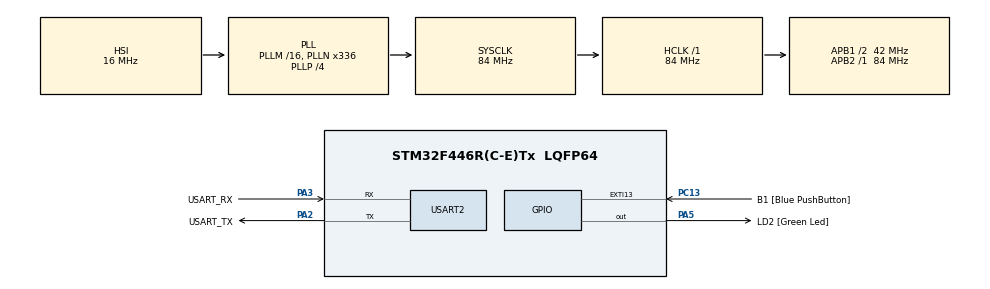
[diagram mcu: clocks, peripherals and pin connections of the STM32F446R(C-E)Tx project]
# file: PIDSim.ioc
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Mcu.Family=STM32F4
Mcu.Name=STM32F446R(C-E)Tx
Mcu.Package=LQFP64
NVIC.PriorityGroup=NVIC_PRIORITYGROUP_4
NVIC.TIM1_UP_TIM10_IRQn=true\:0\:0\:false\:false\:true\:true\:true\:true
NVIC.TIM6_DAC_IRQn=true\:1\:0\:true\:false\:true\:true\:true\:true
NVIC.TIM7_IRQn=true\:2\:0\:true\:false\:true\:true\:true\:true
PA13.GPIO_Label=TMS
PA13.Mode=Serial_Wire
PA13.Signal=SYS_JTMS-SWDIO
PA14.GPIO_Label=TCK
PA14.Mode=Serial_Wire
PA14.Signal=SYS_JTCK-SWCLK
PA2.GPIO_Label=USART_TX
PA2.Mode=Asynchronous
PA2.Signal=USART2_TX
PA3.GPIO_Label=USART_RX
PA3.Mode=Asynchronous
PA3.Signal=USART2_RX
PA5.GPIO_Label=LD2 [Green Led]
PA5.Signal=GPIO_Output
PB3.GPIO_Label=SWO
PB3.Signal=SYS_JTDO-SWO
PC13.GPIO_Label=B1 [Blue PushButton]
PC13.GPIO_ModeDefaultEXTI=GPIO_MODE_IT_FALLING
PC13.Signal=GPXTI13
PC14-OSC32_IN.Mode=LSE-External-Oscillator
PC14-OSC32_IN.Signal=RCC_OSC32_IN
PC15-OSC32_OUT.Mode=LSE-External-Oscillator
PC15-OSC32_OUT.Signal=RCC_OSC32_OUT
PH0-OSC_IN.Mode=HSE-External-Oscillator
PH0-OSC_IN.Signal=RCC_OSC_IN
PH1-OSC_OUT.Mode=HSE-External-Oscillator
PH1-OSC_OUT.Signal=RCC_OSC_OUT
ProjectManager.HeapSize=0x200
ProjectManager.StackSize=0x400
ProjectManager.TargetToolchain=STM32CubeIDE
RCC.48MHZClocksFreq_Value=84000000
RCC.AHBFreq_Value=84000000
RCC.APB1CLKDivider=RCC_HCLK_DIV2
RCC.APB1Freq_Value=42000000
RCC.APB1TimFreq_Value=84000000
RCC.APB2Freq_Value=84000000
RCC.APB2TimFreq_Value=84000000
RCC.CortexFreq_Value=84000000
RCC.FLatency-AdvancedSettings=FLASH_LATENCY_2
RCC.HCLKFreq_Value=84000000
RCC.HSE_VALUE=8000000
RCC.HSI_VALUE=16000000
RCC.PLLN=336
RCC.PLLP=RCC_PLLP_DIV4
RCC.SYSCLKFreq_VALUE=84000000
RCC.SYSCLKSource=RCC_SYSCLKSOURCE_PLLCLK
RCC.USBFreq_Value=168000000
RCC.VCOOutputFreq_Value=336000000
TIM10.Period=1000-1
TIM10.Prescaler=84-1
TIM6.Prescaler=8400-1
TIM7.Period=10000-1
TIM7.Prescaler=84-1
USART2.VirtualMode=VM_ASYNC
VP_TIM10_VS_ClockSourceINT.Mode=Enable_Timer
VP_TIM6_VS_ClockSourceINT.Mode=Enable_Timer
VP_TIM7_VS_ClockSourceINT.Mode=Enable_Timer
board=NUCLEO-F446RE

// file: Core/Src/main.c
/* USER CODE BEGIN Header */
/**
  ******************************************************************************
  * @file           : main.c
  * @brief          : Main program body
  ******************************************************************************
  * @attention
  *
  * Copyright (c) 2026 STMicroelectronics.
  * All rights reserved.
  *
  * This software is licensed under terms that can be found in the LICENSE file
  * in the root directory of this software component.
  * If no LICENSE file comes with this software, it is provided AS-IS.
  *
  ******************************************************************************
  */
/* USER CODE END Header */
#include "main.h"

#include "tim.h"

#include "usart.h"

#include "gpio.h"

#include <stdio.h>

#include <stdint.h>

/* USER CODE BEGIN PV */

//Global Var
volatile float x1 = 0.0f;
volatile float x2 = 0.0f;
volatile float x3 = 0.0f;

//Input and output
volatile float u = 1.0f;
volatile float y = 0.0f;

volatile uint8_t print_flag = 0;

//integration step size @ 1ms
const float dt = .001f;

/* USER CODE END PV */

void SystemClock_Config(void);

int main(void)
{

  /* MCU Configuration--------------------------------------------------------*/

  /* Reset of all peripherals, Initializes the Flash interface and the Systick. */
  HAL_Init();

  /* Configure the system clock */
  SystemClock_Config();

  /* Initialize all configured peripherals */
  MX_GPIO_Init();
  MX_TIM6_Init();
  MX_TIM7_Init();
  MX_TIM10_Init();
  MX_USART2_UART_Init();
  /* USER CODE BEGIN 2 */
  HAL_TIM_Base_Start_IT(&htim10);
  HAL_TIM_Base_Start_IT(&htim6);
  HAL_TIM_Base_Start_IT(&htim7);

  /* USER CODE END 2 */

  /* Infinite loop */
  /* USER CODE BEGIN WHILE */
    while (1)
      {
          if (print_flag == 1)
          {
              print_flag = 0;

              // Added the $ at the start and the ; before the \r\n
              printf("$%.4f %.1f;\r\n", y, u);
              fflush(stdout); // Forces the buffer to send immediately
          }
      }
    /* USER CODE END 3 */
  }

void SystemClock_Config(void)
{
  RCC_OscInitTypeDef RCC_OscInitStruct = {0};
  RCC_ClkInitTypeDef RCC_ClkInitStruct = {0};

  /** Configure the main internal regulator output voltage
  */
  __HAL_RCC_PWR_CLK_ENABLE();
  __HAL_PWR_VOLTAGESCALING_CONFIG(PWR_REGULATOR_VOLTAGE_SCALE3);

  /** Initializes the RCC Oscillators according to the specified parameters
  * in the RCC_OscInitTypeDef structure.
  */
  RCC_OscInitStruct.OscillatorType = RCC_OSCILLATORTYPE_HSI;
  RCC_OscInitStruct.HSIState = RCC_HSI_ON;
  RCC_OscInitStruct.HSICalibrationValue = RCC_HSICALIBRATION_DEFAULT;
  RCC_OscInitStruct.PLL.PLLState = RCC_PLL_ON;
  RCC_OscInitStruct.PLL.PLLSource = RCC_PLLSOURCE_HSI;
  RCC_OscInitStruct.PLL.PLLM = 16;
  RCC_OscInitStruct.PLL.PLLN = 336;
  RCC_OscInitStruct.PLL.PLLP = RCC_PLLP_DIV4;
  RCC_OscInitStruct.PLL.PLLQ = 2;
  RCC_OscInitStruct.PLL.PLLR = 2;
  if (HAL_RCC_OscConfig(&RCC_OscInitStruct) != HAL_OK)
  {
    Error_Handler();
  }

  /** Initializes the CPU, AHB and APB buses clocks
  */
  RCC_ClkInitStruct.ClockType = RCC_CLOCKTYPE_HCLK|RCC_CLOCKTYPE_SYSCLK
                              |RCC_CLOCKTYPE_PCLK1|RCC_CLOCKTYPE_PCLK2;
  RCC_ClkInitStruct.SYSCLKSource = RCC_SYSCLKSOURCE_PLLCLK;
  RCC_ClkInitStruct.AHBCLKDivider = RCC_SYSCLK_DIV1;
  RCC_ClkInitStruct.APB1CLKDivider = RCC_HCLK_DIV2;
  RCC_ClkInitStruct.APB2CLKDivider = RCC_HCLK_DIV1;

  if (HAL_RCC_ClockConfig(&RCC_ClkInitStruct, FLASH_LATENCY_2) != HAL_OK)
  {
    Error_Handler();
  }
}

/* USER CODE BEGIN 4 */

#ifdef __GNUC__
#define PUTCHAR_PROTOTYPE int __io_putchar(int ch)
#else
#define PUTCHAR_PROTOTYPE int fputc(int ch, FILE *f)
#endif /* __GNUC__ */

int _write(int file, char *ptr, int len)
{
  // Make sure 'huart2' matches the UART handler generated by CubeMX
  extern UART_HandleTypeDef huart2;
  HAL_UART_Transmit(&huart2, (uint8_t *)ptr, len, HAL_MAX_DELAY);
  return len;
}
void HAL_TIM_PeriodElapsedCallback(TIM_HandleTypeDef *htim)
{
    // 1. TIM10: Simulation Time Base (Every 1 ms)
    if (htim->Instance == TIM10)
    {
        // Calculate derivatives
        float dx1 = x2;
        float dx2 = x3;
        float dx3 = -10.0f * x1 - 17.0f * x2 - 8.0f * x3 + u;

        // Update states (Forward Euler integration)
        x1 += dx1 * dt;
        x2 += dx2 * dt;
        x3 += dx3 * dt;

        // Calculate output
        y = 100.0f * x1;
    }

    // 2. TIM6: Square Wave Generator (Every 5 seconds)
    else if (htim->Instance == TIM6)
    {
        // Toggle the input between 0 and 1 (or -1 and 1 if preferred)
        if (u > 0.5f) {
            u = 0.0f;
        } else {
            u = 1.0f;
        }
    }

    // 3. TIM7: Data Logging Trigger (Every 10 ms)
    else if (htim->Instance == TIM7)
    {
        // Defer the heavy printf to the main loop!
        print_flag = 1;
    }
}

/* USER CODE END 4 */

void Error_Handler(void)
{
  __disable_irq();
  while (1)
  {
  }
}
